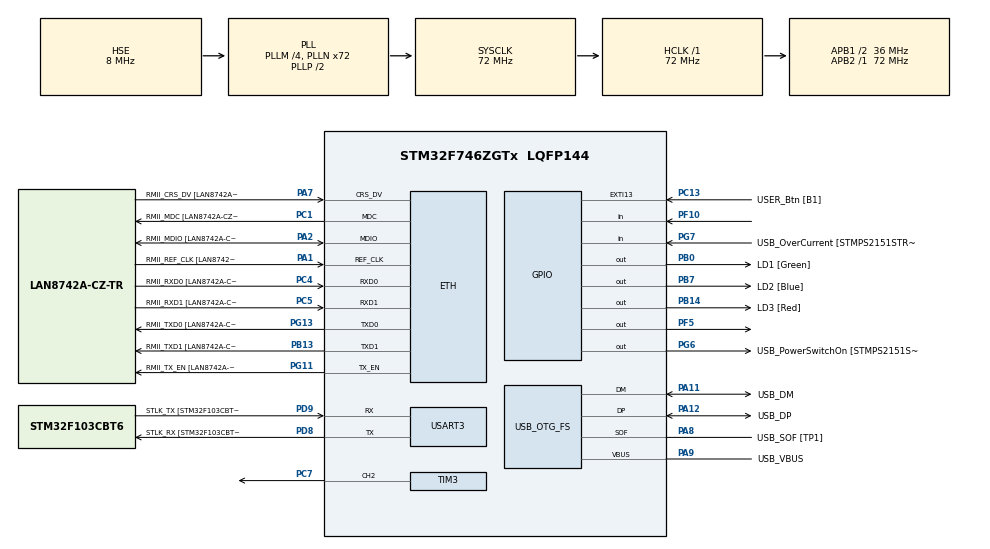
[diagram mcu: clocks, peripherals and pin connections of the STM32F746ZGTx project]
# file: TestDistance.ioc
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ETH.MediaInterface=HAL_ETH_RMII_MODE
ETH.PHY_Name=LAN8742A_PHY_ADDRESS
ETH.PHY_Value=0
ETH.PhyAddress=0
Mcu.Family=STM32F7
Mcu.Name=STM32F746ZGTx
Mcu.Package=LQFP144
NVIC.EXTI15_10_IRQn=true\:0\:0\:false\:false\:true\:true\:true\:true
NVIC.PriorityGroup=NVIC_PRIORITYGROUP_4
PA1.GPIO_Label=RMII_REF_CLK [LAN8742A-CZ-TR_REFCLK0]
PA1.Mode=RMII
PA1.Signal=ETH_REF_CLK
PA10.GPIO_Label=USB_ID
PA10.Signal=USB_OTG_FS_ID
PA11.GPIO_Label=USB_DM
PA11.Mode=Device_Only
PA11.Signal=USB_OTG_FS_DM
PA12.GPIO_Label=USB_DP
PA12.Mode=Device_Only
PA12.Signal=USB_OTG_FS_DP
PA13.GPIO_Label=TMS
PA13.Mode=Trace_Synchro_1bit_SW
PA13.Signal=SYS_JTMS-SWDIO
PA14.GPIO_Label=TCK
PA14.Mode=Trace_Synchro_1bit_SW
PA14.Signal=SYS_JTCK-SWCLK
PA2.GPIO_Label=RMII_MDIO [LAN8742A-CZ-TR_MDIO]
PA2.Mode=RMII
PA2.Signal=ETH_MDIO
PA7.GPIO_Label=RMII_CRS_DV [LAN8742A-CZ-TR_CRS_DV]
PA7.Mode=RMII
PA7.Signal=ETH_CRS_DV
PA8.GPIO_Label=USB_SOF [TP1]
PA8.Mode=Activate_SOF_FS
PA8.Signal=USB_OTG_FS_SOF
PA9.GPIO_Label=USB_VBUS
PA9.Mode=Activate_VBUS
PA9.Signal=USB_OTG_FS_VBUS
PB0.GPIO_Label=LD1 [Green]
PB0.Signal=GPIO_Output
PB13.GPIO_Label=RMII_TXD1 [LAN8742A-CZ-TR_TXD1]
PB13.Mode=RMII
PB13.Signal=ETH_TXD1
PB14.GPIO_Label=LD3 [Red]
PB14.Signal=GPIO_Output
PB3.GPIO_Label=SW0
PB3.Signal=SYS_JTDO-SWO
PB7.GPIO_Label=LD2 [Blue]
PB7.Signal=GPIO_Output
PC1.GPIO_Label=RMII_MDC [LAN8742A-CZ-TR_MDC]
PC1.Mode=RMII
PC1.Signal=ETH_MDC
PC13.GPIO_Label=USER_Btn [B1]
PC13.Signal=GPXTI13
PC14/OSC32_IN.Signal=RCC_OSC32_IN
PC15/OSC32_OUT.Signal=RCC_OSC32_OUT
PC4.GPIO_Label=RMII_RXD0 [LAN8742A-CZ-TR_RXD0]
PC4.Mode=RMII
PC4.Signal=ETH_RXD0
PC5.GPIO_Label=RMII_RXD1 [LAN8742A-CZ-TR_RXD1]
PC5.Mode=RMII
PC5.Signal=ETH_RXD1
PC7.Signal=S_TIM3_CH2
PD8.GPIO_Label=STLK_RX [STM32F103CBT6_PA3]
PD8.GPIO_PuPd=GPIO_PULLUP
PD8.Mode=Asynchronous
PD8.Signal=USART3_TX
PD9.GPIO_Label=STLK_TX [STM32F103CBT6_PA2]
PD9.GPIO_PuPd=GPIO_PULLUP
PD9.Mode=Asynchronous
PD9.Signal=USART3_RX
PE2.Mode=Trace_Synchro_1bit_SW
PE2.Signal=SYS_TRACECLK
PE3.Mode=Trace_Synchro_1bit_SW
PE3.Signal=SYS_TRACED0
PF10.Signal=GPIO_Input
PF5.Signal=GPIO_Output
PG11.GPIO_Label=RMII_TX_EN [LAN8742A-CZ-TR_TXEN]
PG11.Mode=RMII
PG11.Signal=ETH_TX_EN
PG13.GPIO_Label=RMII_TXD0 [LAN8742A-CZ-TR_TXD0]
PG13.Mode=RMII
PG13.Signal=ETH_TXD0
PG6.GPIO_Label=USB_PowerSwitchOn [STMPS2151STR_EN]
PG6.Signal=GPIO_Output
PG7.GPIO_Label=USB_OverCurrent [STMPS2151STR_FAULT]
PG7.Signal=GPIO_Input
PH0/OSC_IN.GPIO_Label=MCO [STM32F103CBT6_PA8]
PH0/OSC_IN.Mode=HSE-External-Oscillator
PH0/OSC_IN.Signal=RCC_OSC_IN
PH1/OSC_OUT.Mode=HSE-External-Oscillator
PH1/OSC_OUT.Signal=RCC_OSC_OUT
ProjectManager.HeapSize=0x200
ProjectManager.StackSize=0x400
ProjectManager.TargetToolchain=STM32CubeIDE
RCC.48MHZClocksFreq_Value=24000000
RCC.AHBFreq_Value=72000000
RCC.APB1CLKDivider=RCC_HCLK_DIV2
RCC.APB1Freq_Value=36000000
RCC.APB1TimFreq_Value=72000000
RCC.APB2Freq_Value=72000000
RCC.APB2TimFreq_Value=72000000
RCC.CortexFreq_Value=72000000
RCC.HCLKFreq_Value=72000000
RCC.HSE_VALUE=8000000
RCC.HSI_VALUE=16000000
RCC.LSE_VALUE=32768
RCC.PLLM=4
RCC.PLLMUL=RCC_PLL_MUL9
RCC.PLLN=72
RCC.PLLQ=3
RCC.PRESCALERUSB=RCC_USBCLKSOURCE_PLL_DIV1_5
RCC.SYSCLKFreq_VALUE=72000000
RCC.SYSCLKSource=RCC_SYSCLKSOURCE_PLLCLK
RCC.SYSCLKSourceVirtual=RCC_SYSCLKSOURCE_PLLCLK
RCC.USBFreq_Value=48000000
RCC.VCOOutputFreq_Value=144000000
SH.S_TIM3_CH2.0=TIM3_CH2,PWM Generation2 CH2
TIM1.Prescaler=71
TIM3.Channel-PWM\ Generation2\ CH2=TIM_CHANNEL_2
TIM3.Period=255
TIM3.Prescaler=260
TIM3.Pulse-PWM\ Generation2\ CH2=260
USART3.VirtualMode-Asynchronous=VM_ASYNC
USB_OTG_FS.VirtualMode=Device_Only
VP_TIM1_VS_ClockSourceINT.Mode=Internal
VP_TIM3_VS_ClockSourceINT.Mode=Internal
board=NUCLEO-F746ZG

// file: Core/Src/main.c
/* USER CODE BEGIN Header */
/**
  ******************************************************************************
  * @file           : main.c
  * @brief          : Main program body
  ******************************************************************************
  * @attention
  *
  * Copyright (c) 2023 STMicroelectronics.
  * All rights reserved.
  *
  * This software is licensed under terms that can be found in the LICENSE file
  * in the root directory of this software component.
  * If no LICENSE file comes with this software, it is provided AS-IS.
  *
  ******************************************************************************
  */
/* USER CODE END Header */
#include "main.h"
#include "string.h"

#if defined ( __ICCARM__ ) /*!< IAR Compiler */
#pragma location=0x2004c000
ETH_DMADescTypeDef  DMARxDscrTab[ETH_RX_DESC_CNT]; /* Ethernet Rx DMA Descriptors */
#pragma location=0x2004c0a0
ETH_DMADescTypeDef  DMATxDscrTab[ETH_TX_DESC_CNT]; /* Ethernet Tx DMA Descriptors */

#elif defined ( __CC_ARM )  /* MDK ARM Compiler */

__attribute__((at(0x2004c000))) ETH_DMADescTypeDef  DMARxDscrTab[ETH_RX_DESC_CNT]; /* Ethernet Rx DMA Descriptors */
__attribute__((at(0x2004c0a0))) ETH_DMADescTypeDef  DMATxDscrTab[ETH_TX_DESC_CNT]; /* Ethernet Tx DMA Descriptors */

#elif defined ( __GNUC__ ) /* GNU Compiler */
ETH_DMADescTypeDef DMARxDscrTab[ETH_RX_DESC_CNT] __attribute__((section(".RxDecripSection"))); /* Ethernet Rx DMA Descriptors */
ETH_DMADescTypeDef DMATxDscrTab[ETH_TX_DESC_CNT] __attribute__((section(".TxDecripSection")));   /* Ethernet Tx DMA Descriptors */

#endif

ETH_TxPacketConfig TxConfig;

ETH_HandleTypeDef heth;

TIM_HandleTypeDef htim1;
TIM_HandleTypeDef htim3;

UART_HandleTypeDef huart3;

PCD_HandleTypeDef hpcd_USB_OTG_FS;

/* USER CODE BEGIN PV */
#define TRIG_PIN GPIO_PIN_5
#define TRIG_PORT GPIOF
#define ECHO_PIN GPIO_PIN_10
#define ECHO_PORT GPIOF
uint32_t pMillis;
uint32_t Value1 = 0;
uint32_t Value2 = 0;
uint16_t Distance  = 0;  // cm
uint16_t Pulse = 0;
/* USER CODE END PV */

void SystemClock_Config(void);
static void MX_GPIO_Init(void);
static void MX_ETH_Init(void);
static void MX_USART3_UART_Init(void);
static void MX_USB_OTG_FS_PCD_Init(void);
static void MX_TIM1_Init(void);
static void MX_TIM3_Init(void);

int main(void)
{

  /* MCU Configuration--------------------------------------------------------*/

  /* Reset of all peripherals, Initializes the Flash interface and the Systick. */
  HAL_Init();

  /* Configure the system clock */
  SystemClock_Config();

  /* Initialize all configured peripherals */
  MX_GPIO_Init();
  MX_ETH_Init();
  MX_USART3_UART_Init();
  MX_USB_OTG_FS_PCD_Init();
  MX_TIM1_Init();
  MX_TIM3_Init();
  /* USER CODE BEGIN 2 */
  HAL_TIM_Base_Start(&htim1);
  HAL_GPIO_WritePin(TRIG_PORT, TRIG_PIN, GPIO_PIN_RESET);  // pull the TRIG pin low
  HAL_TIM_PWM_Start(&htim3,TIM_CHANNEL_2);

  /* USER CODE END 2 */

  /* Infinite loop */
  /* USER CODE BEGIN WHILE */
  while (1)
  {
	   HAL_GPIO_WritePin(TRIG_PORT, TRIG_PIN, GPIO_PIN_SET);  // pull the TRIG pin HIGH
	    __HAL_TIM_SET_COUNTER(&htim1, 0);
	    while (__HAL_TIM_GET_COUNTER (&htim1) < 10);  // wait for 10 us
	    HAL_GPIO_WritePin(TRIG_PORT, TRIG_PIN, GPIO_PIN_RESET);  // pull the TRIG pin low

	    pMillis = HAL_GetTick(); // used this to avoid infinite while loop  (for timeout)
	    // wait for the echo pin to go high
	    while (!(HAL_GPIO_ReadPin (ECHO_PORT, ECHO_PIN)) && pMillis + 10 >  HAL_GetTick());
	    Value1 = __HAL_TIM_GET_COUNTER (&htim1);

	    pMillis = HAL_GetTick(); // used this to avoid infinite while loop (for timeout)
	    // wait for the echo pin to go low
	    while ((HAL_GPIO_ReadPin (ECHO_PORT, ECHO_PIN)) && pMillis + 50 > HAL_GetTick());
	    Value2 = __HAL_TIM_GET_COUNTER (&htim1);

	    Distance = (Value2-Value1)* 0.034/2;

	    HAL_Delay(50);

	    if(Distance <= 8){
	    	TIM3->CCR2 = 0;
	    	Pulse = 0;
	    	HAL_GPIO_WritePin(LD2_GPIO_Port, LD2_Pin, 1);
	    }else{
	    	TIM3->CCR2 = 160;
	    	Pulse = 160;
	    	HAL_GPIO_WritePin(LD2_GPIO_Port, LD2_Pin, 0);
	    }

    /* USER CODE END WHILE */

  }
}

void SystemClock_Config(void)
{
  RCC_OscInitTypeDef RCC_OscInitStruct = {0};
  RCC_ClkInitTypeDef RCC_ClkInitStruct = {0};

  /** Configure the main internal regulator output voltage
  */
  __HAL_RCC_PWR_CLK_ENABLE();
  __HAL_PWR_VOLTAGESCALING_CONFIG(PWR_REGULATOR_VOLTAGE_SCALE3);

  /** Initializes the RCC Oscillators according to the specified parameters
  * in the RCC_OscInitTypeDef structure.
  */
  RCC_OscInitStruct.OscillatorType = RCC_OSCILLATORTYPE_HSE;
  RCC_OscInitStruct.HSEState = RCC_HSE_ON;
  RCC_OscInitStruct.PLL.PLLState = RCC_PLL_ON;
  RCC_OscInitStruct.PLL.PLLSource = RCC_PLLSOURCE_HSE;
  RCC_OscInitStruct.PLL.PLLM = 4;
  RCC_OscInitStruct.PLL.PLLN = 72;
  RCC_OscInitStruct.PLL.PLLP = RCC_PLLP_DIV2;
  RCC_OscInitStruct.PLL.PLLQ = 3;
  if (HAL_RCC_OscConfig(&RCC_OscInitStruct) != HAL_OK)
  {
    Error_Handler();
  }

  /** Initializes the CPU, AHB and APB buses clocks
  */
  RCC_ClkInitStruct.ClockType = RCC_CLOCKTYPE_HCLK|RCC_CLOCKTYPE_SYSCLK
                              |RCC_CLOCKTYPE_PCLK1|RCC_CLOCKTYPE_PCLK2;
  RCC_ClkInitStruct.SYSCLKSource = RCC_SYSCLKSOURCE_PLLCLK;
  RCC_ClkInitStruct.AHBCLKDivider = RCC_SYSCLK_DIV1;
  RCC_ClkInitStruct.APB1CLKDivider = RCC_HCLK_DIV2;
  RCC_ClkInitStruct.APB2CLKDivider = RCC_HCLK_DIV1;

  if (HAL_RCC_ClockConfig(&RCC_ClkInitStruct, FLASH_LATENCY_2) != HAL_OK)
  {
    Error_Handler();
  }
}

static void MX_ETH_Init(void)
{

   static uint8_t MACAddr[6];

  heth.Instance = ETH;
  MACAddr[0] = 0x00;
  MACAddr[1] = 0x80;
  MACAddr[2] = 0xE1;
  MACAddr[3] = 0x00;
  MACAddr[4] = 0x00;
  MACAddr[5] = 0x00;
  heth.Init.MACAddr = &MACAddr[0];
  heth.Init.MediaInterface = HAL_ETH_RMII_MODE;
  heth.Init.TxDesc = DMATxDscrTab;
  heth.Init.RxDesc = DMARxDscrTab;
  heth.Init.RxBuffLen = 1524;

  if (HAL_ETH_Init(&heth) != HAL_OK)
  {
    Error_Handler();
  }

  memset(&TxConfig, 0 , sizeof(ETH_TxPacketConfig));
  TxConfig.Attributes = ETH_TX_PACKETS_FEATURES_CSUM | ETH_TX_PACKETS_FEATURES_CRCPAD;
  TxConfig.ChecksumCtrl = ETH_CHECKSUM_IPHDR_PAYLOAD_INSERT_PHDR_CALC;
  TxConfig.CRCPadCtrl = ETH_CRC_PAD_INSERT;

}

static void MX_TIM1_Init(void)
{

  TIM_ClockConfigTypeDef sClockSourceConfig = {0};
  TIM_MasterConfigTypeDef sMasterConfig = {0};

  htim1.Instance = TIM1;
  htim1.Init.Prescaler = 71;
  htim1.Init.CounterMode = TIM_COUNTERMODE_UP;
  htim1.Init.Period = 65535;
  htim1.Init.ClockDivision = TIM_CLOCKDIVISION_DIV1;
  htim1.Init.RepetitionCounter = 0;
  htim1.Init.AutoReloadPreload = TIM_AUTORELOAD_PRELOAD_DISABLE;
  if (HAL_TIM_Base_Init(&htim1) != HAL_OK)
  {
    Error_Handler();
  }
  sClockSourceConfig.ClockSource = TIM_CLOCKSOURCE_INTERNAL;
  if (HAL_TIM_ConfigClockSource(&htim1, &sClockSourceConfig) != HAL_OK)
  {
    Error_Handler();
  }
  sMasterConfig.MasterOutputTrigger = TIM_TRGO_RESET;
  sMasterConfig.MasterOutputTrigger2 = TIM_TRGO2_RESET;
  sMasterConfig.MasterSlaveMode = TIM_MASTERSLAVEMODE_DISABLE;
  if (HAL_TIMEx_MasterConfigSynchronization(&htim1, &sMasterConfig) != HAL_OK)
  {
    Error_Handler();
  }

}

static void MX_TIM3_Init(void)
{

  TIM_ClockConfigTypeDef sClockSourceConfig = {0};
  TIM_MasterConfigTypeDef sMasterConfig = {0};
  TIM_OC_InitTypeDef sConfigOC = {0};

  htim3.Instance = TIM3;
  htim3.Init.Prescaler = 260;
  htim3.Init.CounterMode = TIM_COUNTERMODE_UP;
  htim3.Init.Period = 255;
  htim3.Init.ClockDivision = TIM_CLOCKDIVISION_DIV1;
  htim3.Init.AutoReloadPreload = TIM_AUTORELOAD_PRELOAD_DISABLE;
  if (HAL_TIM_Base_Init(&htim3) != HAL_OK)
  {
    Error_Handler();
  }
  sClockSourceConfig.ClockSource = TIM_CLOCKSOURCE_INTERNAL;
  if (HAL_TIM_ConfigClockSource(&htim3, &sClockSourceConfig) != HAL_OK)
  {
    Error_Handler();
  }
  if (HAL_TIM_PWM_Init(&htim3) != HAL_OK)
  {
    Error_Handler();
  }
  sMasterConfig.MasterOutputTrigger = TIM_TRGO_RESET;
  sMasterConfig.MasterSlaveMode = TIM_MASTERSLAVEMODE_DISABLE;
  if (HAL_TIMEx_MasterConfigSynchronization(&htim3, &sMasterConfig) != HAL_OK)
  {
    Error_Handler();
  }
  sConfigOC.OCMode = TIM_OCMODE_PWM1;
  sConfigOC.Pulse = 260;
  sConfigOC.OCPolarity = TIM_OCPOLARITY_HIGH;
  sConfigOC.OCFastMode = TIM_OCFAST_DISABLE;
  if (HAL_TIM_PWM_ConfigChannel(&htim3, &sConfigOC, TIM_CHANNEL_2) != HAL_OK)
  {
    Error_Handler();
  }
  HAL_TIM_MspPostInit(&htim3);

}

static void MX_USART3_UART_Init(void)
{

  huart3.Instance = USART3;
  huart3.Init.BaudRate = 115200;
  huart3.Init.WordLength = UART_WORDLENGTH_8B;
  huart3.Init.StopBits = UART_STOPBITS_1;
  huart3.Init.Parity = UART_PARITY_NONE;
  huart3.Init.Mode = UART_MODE_TX_RX;
  huart3.Init.HwFlowCtl = UART_HWCONTROL_NONE;
  huart3.Init.OverSampling = UART_OVERSAMPLING_16;
  huart3.Init.OneBitSampling = UART_ONE_BIT_SAMPLE_DISABLE;
  huart3.AdvancedInit.AdvFeatureInit = UART_ADVFEATURE_NO_INIT;
  if (HAL_UART_Init(&huart3) != HAL_OK)
  {
    Error_Handler();
  }

}

static void MX_USB_OTG_FS_PCD_Init(void)
{

  hpcd_USB_OTG_FS.Instance = USB_OTG_FS;
  hpcd_USB_OTG_FS.Init.dev_endpoints = 6;
  hpcd_USB_OTG_FS.Init.speed = PCD_SPEED_FULL;
  hpcd_USB_OTG_FS.Init.dma_enable = DISABLE;
  hpcd_USB_OTG_FS.Init.phy_itface = PCD_PHY_EMBEDDED;
  hpcd_USB_OTG_FS.Init.Sof_enable = ENABLE;
  hpcd_USB_OTG_FS.Init.low_power_enable = DISABLE;
  hpcd_USB_OTG_FS.Init.lpm_enable = DISABLE;
  hpcd_USB_OTG_FS.Init.vbus_sensing_enable = ENABLE;
  hpcd_USB_OTG_FS.Init.use_dedicated_ep1 = DISABLE;
  if (HAL_PCD_Init(&hpcd_USB_OTG_FS) != HAL_OK)
  {
    Error_Handler();
  }

}

static void MX_GPIO_Init(void)
{
  GPIO_InitTypeDef GPIO_InitStruct = {0};

  /* GPIO Ports Clock Enable */
  __HAL_RCC_GPIOE_CLK_ENABLE();
  __HAL_RCC_GPIOC_CLK_ENABLE();
  __HAL_RCC_GPIOF_CLK_ENABLE();
  __HAL_RCC_GPIOH_CLK_ENABLE();
  __HAL_RCC_GPIOA_CLK_ENABLE();
  __HAL_RCC_GPIOB_CLK_ENABLE();
  __HAL_RCC_GPIOD_CLK_ENABLE();
  __HAL_RCC_GPIOG_CLK_ENABLE();

  /*Configure GPIO pin Output Level */
  HAL_GPIO_WritePin(GPIOF, GPIO_PIN_5, GPIO_PIN_RESET);

  /*Configure GPIO pin Output Level */
  HAL_GPIO_WritePin(GPIOB, LD1_Pin|LD3_Pin|LD2_Pin, GPIO_PIN_RESET);

  /*Configure GPIO pin Output Level */
  HAL_GPIO_WritePin(USB_PowerSwitchOn_GPIO_Port, USB_PowerSwitchOn_Pin, GPIO_PIN_RESET);

  /*Configure GPIO pin : USER_Btn_Pin */
  GPIO_InitStruct.Pin = USER_Btn_Pin;
  GPIO_InitStruct.Mode = GPIO_MODE_IT_RISING;
  GPIO_InitStruct.Pull = GPIO_NOPULL;
  HAL_GPIO_Init(USER_Btn_GPIO_Port, &GPIO_InitStruct);

  /*Configure GPIO pin : PF5 */
  GPIO_InitStruct.Pin = GPIO_PIN_5;
  GPIO_InitStruct.Mode = GPIO_MODE_OUTPUT_PP;
  GPIO_InitStruct.Pull = GPIO_NOPULL;
  GPIO_InitStruct.Speed = GPIO_SPEED_FREQ_LOW;
  HAL_GPIO_Init(GPIOF, &GPIO_InitStruct);

  /*Configure GPIO pin : PF10 */
  GPIO_InitStruct.Pin = GPIO_PIN_10;
  GPIO_InitStruct.Mode = GPIO_MODE_INPUT;
  GPIO_InitStruct.Pull = GPIO_NOPULL;
  HAL_GPIO_Init(GPIOF, &GPIO_InitStruct);

  /*Configure GPIO pins : LD1_Pin LD3_Pin LD2_Pin */
  GPIO_InitStruct.Pin = LD1_Pin|LD3_Pin|LD2_Pin;
  GPIO_InitStruct.Mode = GPIO_MODE_OUTPUT_PP;
  GPIO_InitStruct.Pull = GPIO_NOPULL;
  GPIO_InitStruct.Speed = GPIO_SPEED_FREQ_LOW;
  HAL_GPIO_Init(GPIOB, &GPIO_InitStruct);

  /*Configure GPIO pin : USB_PowerSwitchOn_Pin */
  GPIO_InitStruct.Pin = USB_PowerSwitchOn_Pin;
  GPIO_InitStruct.Mode = GPIO_MODE_OUTPUT_PP;
  GPIO_InitStruct.Pull = GPIO_NOPULL;
  GPIO_InitStruct.Speed = GPIO_SPEED_FREQ_LOW;
  HAL_GPIO_Init(USB_PowerSwitchOn_GPIO_Port, &GPIO_InitStruct);

  /*Configure GPIO pin : USB_OverCurrent_Pin */
  GPIO_InitStruct.Pin = USB_OverCurrent_Pin;
  GPIO_InitStruct.Mode = GPIO_MODE_INPUT;
  GPIO_InitStruct.Pull = GPIO_NOPULL;
  HAL_GPIO_Init(USB_OverCurrent_GPIO_Port, &GPIO_InitStruct);

  /* EXTI interrupt init*/
  HAL_NVIC_SetPriority(EXTI15_10_IRQn, 0, 0);
  HAL_NVIC_EnableIRQ(EXTI15_10_IRQn);

}

void Error_Handler(void)
{
  __disable_irq();
  while (1)
  {
  }
}
